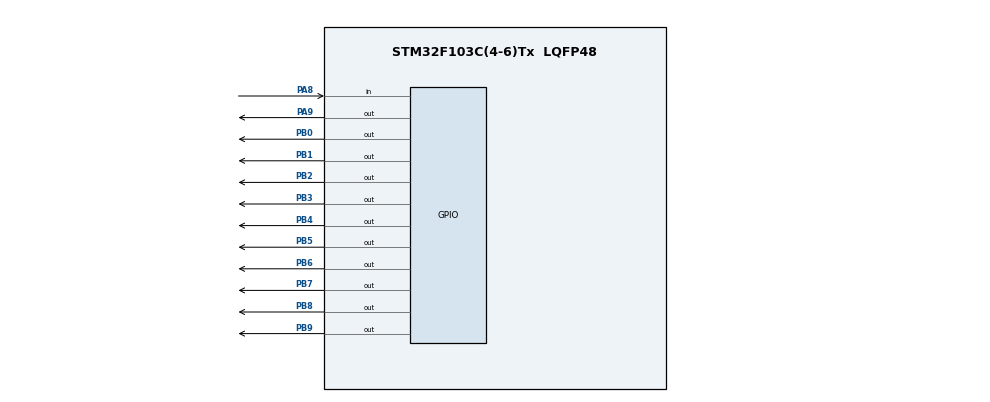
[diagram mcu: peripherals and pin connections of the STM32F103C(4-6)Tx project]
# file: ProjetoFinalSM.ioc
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Mcu.Family=STM32F1
Mcu.Name=STM32F103C(4-6)Tx
Mcu.Package=LQFP48
NVIC.PriorityGroup=NVIC_PRIORITYGROUP_4
PA8.Signal=GPIO_Input
PA9.Signal=GPIO_Output
PB0.Signal=GPIO_Output
PB1.Signal=GPIO_Output
PB2.Signal=GPIO_Output
PB3.Signal=GPIO_Output
PB4.Signal=GPIO_Output
PB5.Signal=GPIO_Output
PB6.Signal=GPIO_Output
PB7.Signal=GPIO_Output
PB8.Signal=GPIO_Output
PB9.Signal=GPIO_Output
PD0-OSC_IN.Mode=HSE-External-Oscillator
PD0-OSC_IN.Signal=RCC_OSC_IN
PD1-OSC_OUT.Mode=HSE-External-Oscillator
PD1-OSC_OUT.Signal=RCC_OSC_OUT
ProjectManager.HeapSize=0x200
ProjectManager.StackSize=0x400
ProjectManager.TargetToolchain=STM32CubeIDE
RCC.APB1Freq_Value=8000000
RCC.APB2Freq_Value=8000000
TIM1.Prescaler=72-1
VP_SYS_VS_ND.Mode=No_Debug
VP_TIM1_VS_ClockSourceINT.Mode=Internal
board=custom

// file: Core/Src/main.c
/* USER CODE BEGIN Header */
#define _SVID_SOURCE
/**
  ******************************************************************************
  * @file           : main.c
  * @brief          : Main program body
  ******************************************************************************
  * @attention
  *
  * Copyright (c) 2022 STMicroelectronics.
  * All rights reserved.
  *
  * This software is licensed under terms that can be found in the LICENSE file
  * in the root directory of this software component.
  * If no LICENSE file comes with this software, it is provided AS-IS.
  *
  ******************************************************************************
  */
/* USER CODE END Header */
#include "main.h"

/* USER CODE BEGIN Includes */
#include <stdio.h>
/* USER CODE END Includes */

/* USER CODE BEGIN PD */
#define TRIG_PIN GPIO_PIN_9
#define TRIG_PORT GPIOA
#define ECHO_PIN GPIO_PIN_8
#define ECHO_PORT GPIOA
uint32_t pMillis;
uint32_t Value1 = 0;
uint32_t Value2 = 0;
uint32_t Distance  = 0;  // cm
float Distance2;
char text[20];
/* USER CODE END PD */

TIM_HandleTypeDef htim1;

void SystemClock_Config(void);
static void MX_GPIO_Init(void);
static void MX_TIM1_Init(void);
/* USER CODE BEGIN PFP */
void LCD_reset(void);
void LCD(uint8_t val, uint8_t cmd);
void LCD_print(char *p);
/* USER CODE END PFP */

int main(void)
{

  /* MCU Configuration--------------------------------------------------------*/

  /* Reset of all peripherals, Initializes the Flash interface and the Systick. */
  HAL_Init();

  /* Configure the system clock */
  SystemClock_Config();

  /* Initialize all configured peripherals */
  MX_GPIO_Init();
  MX_TIM1_Init();
  /* USER CODE BEGIN 2 */
  LCD_reset();
  LCD_print("Distancia (cm):");
  HAL_TIM_Base_Start(&htim1);
  HAL_GPIO_WritePin(TRIG_PORT, TRIG_PIN, GPIO_PIN_RESET);  // pull the TRIG pin low
  /* USER CODE END 2 */

  /* Infinite loop */
  while (1)
  {
	HAL_GPIO_WritePin(TRIG_PORT, TRIG_PIN, GPIO_PIN_SET);  //TRIG em nível alto
	__HAL_TIM_SET_COUNTER(&htim1, 0);
	while (__HAL_TIM_GET_COUNTER (&htim1) < 10);  //espera por 10 us
	HAL_GPIO_WritePin(TRIG_PORT, TRIG_PIN, GPIO_PIN_RESET);  //TRIG em nível baixo

	pMillis = HAL_GetTick(); //usado para evitar timeout
	//espera pelo nível alto em echo
	while (!(HAL_GPIO_ReadPin (ECHO_PORT, ECHO_PIN)) && pMillis + 10 >  HAL_GetTick());
	Value1 = __HAL_TIM_GET_COUNTER (&htim1);

	pMillis = HAL_GetTick(); //usado para evitar timeout
	//espera pelo nível baixo em echo
	while ((HAL_GPIO_ReadPin (ECHO_PORT, ECHO_PIN)) && pMillis + 50 > HAL_GetTick());
	Value2 = __HAL_TIM_GET_COUNTER (&htim1);

	//9.2 é um fator de precisão calculado de acordo com os testes
	Distance2 = ((Value2-Value1)* 0.034/2)*9.2;
	LCD(0xC0, 0);
	gcvt(Distance2, 4, text);
	LCD_print(text);
	HAL_Delay(50);
  }
}

void SystemClock_Config(void)
{
  RCC_OscInitTypeDef RCC_OscInitStruct = {0};
  RCC_ClkInitTypeDef RCC_ClkInitStruct = {0};

  /** Initializes the RCC Oscillators according to the specified parameters
  * in the RCC_OscInitTypeDef structure.
  */
  RCC_OscInitStruct.OscillatorType = RCC_OSCILLATORTYPE_HSI;
  RCC_OscInitStruct.HSIState = RCC_HSI_ON;
  RCC_OscInitStruct.HSICalibrationValue = RCC_HSICALIBRATION_DEFAULT;
  RCC_OscInitStruct.PLL.PLLState = RCC_PLL_NONE;
  if (HAL_RCC_OscConfig(&RCC_OscInitStruct) != HAL_OK)
  {
    Error_Handler();
  }
  /** Initializes the CPU, AHB and APB buses clocks
  */
  RCC_ClkInitStruct.ClockType = RCC_CLOCKTYPE_HCLK|RCC_CLOCKTYPE_SYSCLK
                              |RCC_CLOCKTYPE_PCLK1|RCC_CLOCKTYPE_PCLK2;
  RCC_ClkInitStruct.SYSCLKSource = RCC_SYSCLKSOURCE_HSI;
  RCC_ClkInitStruct.AHBCLKDivider = RCC_SYSCLK_DIV1;
  RCC_ClkInitStruct.APB1CLKDivider = RCC_HCLK_DIV1;
  RCC_ClkInitStruct.APB2CLKDivider = RCC_HCLK_DIV1;

  if (HAL_RCC_ClockConfig(&RCC_ClkInitStruct, FLASH_LATENCY_0) != HAL_OK)
  {
    Error_Handler();
  }
}

static void MX_TIM1_Init(void)
{

  TIM_ClockConfigTypeDef sClockSourceConfig = {0};
  TIM_MasterConfigTypeDef sMasterConfig = {0};

  htim1.Instance = TIM1;
  htim1.Init.Prescaler = 72-1;
  htim1.Init.CounterMode = TIM_COUNTERMODE_UP;
  htim1.Init.Period = 65535;
  htim1.Init.ClockDivision = TIM_CLOCKDIVISION_DIV1;
  htim1.Init.RepetitionCounter = 0;
  htim1.Init.AutoReloadPreload = TIM_AUTORELOAD_PRELOAD_DISABLE;
  if (HAL_TIM_Base_Init(&htim1) != HAL_OK)
  {
    Error_Handler();
  }
  sClockSourceConfig.ClockSource = TIM_CLOCKSOURCE_INTERNAL;
  if (HAL_TIM_ConfigClockSource(&htim1, &sClockSourceConfig) != HAL_OK)
  {
    Error_Handler();
  }
  sMasterConfig.MasterOutputTrigger = TIM_TRGO_RESET;
  sMasterConfig.MasterSlaveMode = TIM_MASTERSLAVEMODE_DISABLE;
  if (HAL_TIMEx_MasterConfigSynchronization(&htim1, &sMasterConfig) != HAL_OK)
  {
    Error_Handler();
  }

}

static void MX_GPIO_Init(void)
{
  GPIO_InitTypeDef GPIO_InitStruct = {0};

  /* GPIO Ports Clock Enable */
  __HAL_RCC_GPIOD_CLK_ENABLE();
  __HAL_RCC_GPIOB_CLK_ENABLE();
  __HAL_RCC_GPIOA_CLK_ENABLE();

  /*Configure GPIO pin Output Level */
  HAL_GPIO_WritePin(GPIOB, GPIO_PIN_0|GPIO_PIN_1|GPIO_PIN_2|GPIO_PIN_3
                          |GPIO_PIN_4|GPIO_PIN_5|GPIO_PIN_6|GPIO_PIN_7
                          |GPIO_PIN_8|GPIO_PIN_9, GPIO_PIN_RESET);

  /*Configure GPIO pin Output Level */
  HAL_GPIO_WritePin(GPIOA, GPIO_PIN_9, GPIO_PIN_RESET);

  /*Configure GPIO pins : PB0 PB1 PB2 PB3
                           PB4 PB5 PB6 PB7
                           PB8 PB9 */
  GPIO_InitStruct.Pin = GPIO_PIN_0|GPIO_PIN_1|GPIO_PIN_2|GPIO_PIN_3
                          |GPIO_PIN_4|GPIO_PIN_5|GPIO_PIN_6|GPIO_PIN_7
                          |GPIO_PIN_8|GPIO_PIN_9;
  GPIO_InitStruct.Mode = GPIO_MODE_OUTPUT_PP;
  GPIO_InitStruct.Pull = GPIO_NOPULL;
  GPIO_InitStruct.Speed = GPIO_SPEED_FREQ_LOW;
  HAL_GPIO_Init(GPIOB, &GPIO_InitStruct);

  /*Configure GPIO pin : PA8 */
  GPIO_InitStruct.Pin = GPIO_PIN_8;
  GPIO_InitStruct.Mode = GPIO_MODE_INPUT;
  GPIO_InitStruct.Pull = GPIO_NOPULL;
  HAL_GPIO_Init(GPIOA, &GPIO_InitStruct);

  /*Configure GPIO pin : PA9 */
  GPIO_InitStruct.Pin = GPIO_PIN_9;
  GPIO_InitStruct.Mode = GPIO_MODE_OUTPUT_PP;
  GPIO_InitStruct.Pull = GPIO_NOPULL;
  GPIO_InitStruct.Speed = GPIO_SPEED_FREQ_LOW;
  HAL_GPIO_Init(GPIOA, &GPIO_InitStruct);

}

/* USER CODE BEGIN 4 */
void LCD_reset(void)
{
	LCD(0x38, 0);
	LCD(0x0C, 0);
	LCD(0x06, 0);
	LCD(0x01, 0);
	LCD(0x80, 0);
}

void LCD(uint8_t val, uint8_t cmd)
{
	uint8_t data;
	HAL_GPIO_WritePin(GPIOB, GPIO_PIN_8, cmd);

	data = val & 0x01;
	HAL_GPIO_WritePin(GPIOB, GPIO_PIN_0, data);
	data = val & 0x02;
	HAL_GPIO_WritePin(GPIOB, GPIO_PIN_1, data);
	data = val & 0x04;
	HAL_GPIO_WritePin(GPIOB, GPIO_PIN_2, data);
	data = val & 0x08;
	HAL_GPIO_WritePin(GPIOB, GPIO_PIN_3, data);
	data = val & 0x10;
	HAL_GPIO_WritePin(GPIOB, GPIO_PIN_4, data);
	data = val & 0x20;
	HAL_GPIO_WritePin(GPIOB, GPIO_PIN_5, data);
	data = val & 0x40;
	HAL_GPIO_WritePin(GPIOB, GPIO_PIN_6, data);
	data = val & 0x80;
	HAL_GPIO_WritePin(GPIOB, GPIO_PIN_7, data);

	/* Enable pin */
	HAL_GPIO_WritePin(GPIOB, GPIO_PIN_9, GPIO_PIN_SET);
	HAL_Delay(10);
	HAL_GPIO_WritePin(GPIOB, GPIO_PIN_9, GPIO_PIN_RESET);

}

void LCD_print(char *p)
{
	int i;
	for(i = 0; p[i] != '\0'; i++)
		LCD(p[i], 1);
}
/* USER CODE END 4 */

void Error_Handler(void)
{
  __disable_irq();
  while (1)
  {
  }
}
